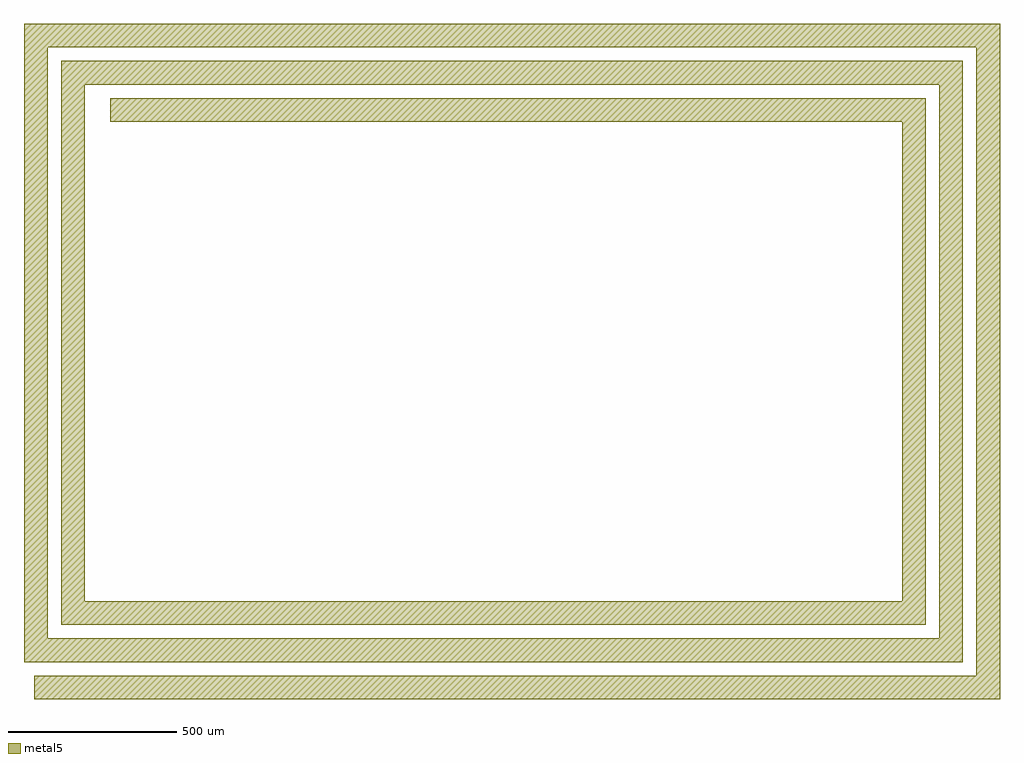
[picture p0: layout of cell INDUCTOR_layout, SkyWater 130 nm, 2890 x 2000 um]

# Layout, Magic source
magic
tech sky130A
<< metal5 >>
rect 394000 1624000 683000 1631000
rect 394000 1449000 401000 1624000
rect 405000 1613000 672000 1620000
rect 405000 1460000 412000 1613000
rect 419500 1602000 661000 1609000
rect 654000 1460000 661000 1602000
rect 405000 1453000 661000 1460000
rect 665000 1449000 672000 1613000
rect 394000 1442000 672000 1449000
rect 676000 1438000 683000 1624000
rect 397000 1431000 683000 1438000
<< end >>
